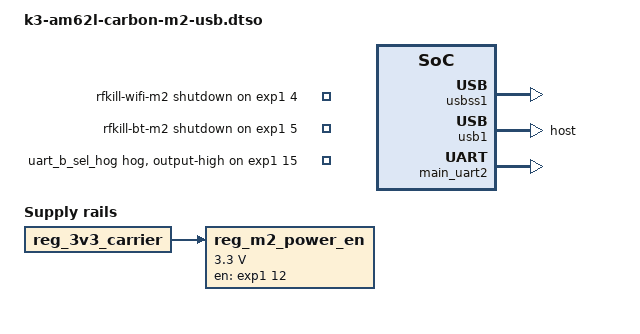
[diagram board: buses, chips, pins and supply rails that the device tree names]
// SPDX-License-Identifier: GPL-2.0
/*
 * M.2 USB-USB radio module
 *
 * Copyright (C) 2025 Ezurio LLC
 */

#include <dt-bindings/gpio/gpio.h>

/dts-v1/;
/plugin/;

&{/} {
	reg_m2_power_en: regulator-m2-power-en {
		compatible = "regulator-fixed";
		regulator-name = "reg_m2_power_en";
		regulator-min-microvolt = <3300000>;
		regulator-max-microvolt = <3300000>;

		vin-supply = <&reg_3v3_carrier>;

		gpios = <&exp1 12 GPIO_ACTIVE_HIGH>;  /* M2_POWER_EN */
		enable-active-high;
		regulator-always-on;
	};

	rfkill-wifi-m2 {
		compatible = "rfkill-gpio";
		label = "rfkill-wifi-m2";
		radio-type = "wlan";
		shutdown-gpios = <&exp1 4 GPIO_ACTIVE_HIGH>;
	};

	rfkill-bt-m2 {
		compatible = "rfkill-gpio";
		label = "rfkill-bt-m2";
		radio-type = "bluetooth";
		shutdown-gpios = <&exp1 5 GPIO_ACTIVE_HIGH>;
	};
};

&usbss1 {
	status = "okay";
};

&usb1 {
	dr_mode = "host";
};

&main_uart2 {
	status = "okay";

	uart-has-rtscts;
};

&exp1 {
	uart_b_sel_hog {
		gpio-hog;
		output-high;
		gpios = <15 GPIO_ACTIVE_HIGH>;
	};
};
